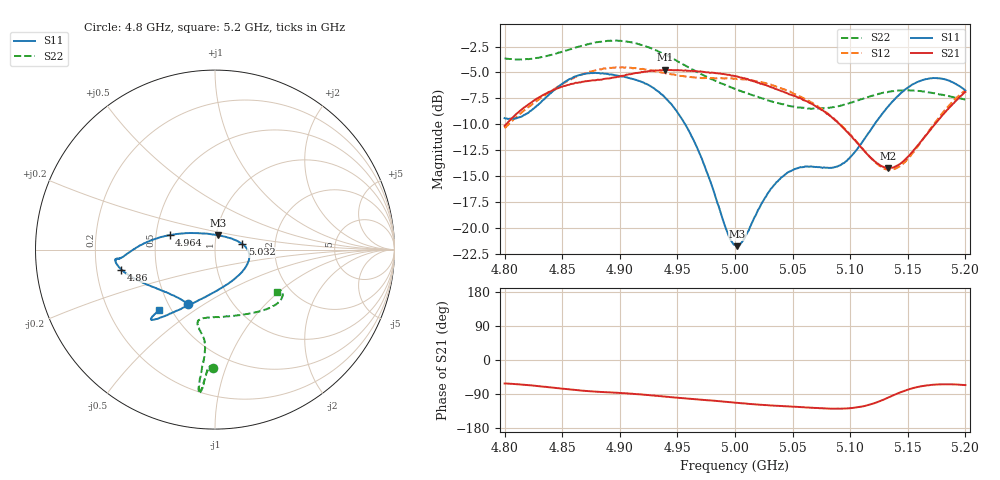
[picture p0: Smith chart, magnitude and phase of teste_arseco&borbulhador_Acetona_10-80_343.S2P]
! Network Analyzer HP8722D
! Hewlett-Packard
! Data name: Linha & Wilkinson
! Saver's name: Rodrigo Anjos
! Comments: Teste da utilização de aquisição
! continua pelo VNA HP8722D
! Time and date: 17/4/2025 17:13
!  Frequency  S11  S21  S12  S22
# HZ  S  MA R 50
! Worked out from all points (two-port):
!   401 points, 4.8 GHz to 5.2 GHz, reference 50 ohm
!   highest |S21| = -4.74 dB at 4.939 GHz (marker M1); lowest = -14.2 dB at 5.133 GHz (marker M2)
!   |S21| within 3 dB of the highest: 4.825 GHz to 5.061 GHz (236.5 MHz wide, 4.78 % of centre); 5.191694 GHz to end of sweep
!   lowest |S11| = -21.8 dB at 5.002 GHz (marker M3), VSWR 1.18, Z = 51 + j8.21 ohm
!   |S11| at or under -10 dB: 4.957 GHz to 5.121 GHz (164.4 MHz wide, 3.26 % of centre)
!   |S22| runs from -8.5 to -1.9 dB; largest |S21 - S12| = 0.87
!   S11 on the Smith chart (normalised r, x): 4.8 GHz: 0.63, -0.43; 4.86 GHz: 0.31, -0.10; 4.964 GHz: 0.59, +0.10; 5.032 GHz: 1.36, +0.09; 5.2 GHz: 0.43, -0.37
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4.8e9  0.3384 -116.5  0.3104 -61.9  0.3027 -176.0  0.6572 -90.8
4.819e9  0.355 -136.7  0.388 -65.8  0.3754 -175.4  0.6526 -92.3
4.86e9  0.5345 -168.0  0.4964 -78.7  0.5278 -178.7  0.735 -94.6
4.867e9  0.5493 -170.8  0.5063 -80.8  0.5492 179.9  0.7551 -94.9
4.898e9  0.5425 -174.7  0.5354 -86.5  0.593 174.2  0.7991 -96.2
4.934e9  0.4523 179.7  0.5746 -95.4  0.5665 170.4  0.7071 -96.5
4.939e9  0.4276 177.7  0.5791 -96.4  0.5596 170.5  0.6866 -96.3
4.964e9  0.2656 162.3  0.5699 -103.1  0.5326 172.5  0.5769 -95.7
4.976e9  0.1839 150.0  0.5633 -105.9  0.528 173.6  0.5339 -95.9
4.993e9  0.0963 113.8  0.5486 -110.6  0.526 174.9  0.4854 -98.2
5e9  0.0826 86.7  0.5405 -112.4  0.5252 174.9  0.4688 -99.6
5.002e9  0.08162 78.2  0.5376 -113.1  0.5217 174.9  0.4635 -100.0
5.032e9  0.156 11.4  0.4755 -120.1  0.4884 173.7  0.4077 -103.3
5.047e9  0.1865 -2.9  0.4409 -122.7  0.4552 173.0  0.3878 -99.8
5.067e9  0.1975 -24.1  0.3954 -125.9  0.4018 172.7  0.376 -89.0
5.096e9  0.2088 -74.3  0.2956 -127.9  0.298 175.0  0.3948 -66.7
5.121e9  0.315 -111.2  0.2097 -114.0  0.209 -169.3  0.4374 -49.8
5.133e9  0.3856 -120.2  0.1945 -99.0  0.1909 -152.9  0.4532 -43.7
5.134e9  0.3917 -121.0  0.1946 -97.9  0.1904 -151.4  0.4541 -43.3
5.146e9  0.4565 -126.5  0.2093 -82.5  0.2041 -133.4  0.461 -38.7
5.167e9  0.5226 -131.6  0.2847 -66.8  0.2869 -113.5  0.4516 -33.3
5.2e9  0.46 -132.9  0.4525 -66.3  0.4619 -108.2  0.4157 -34.4
